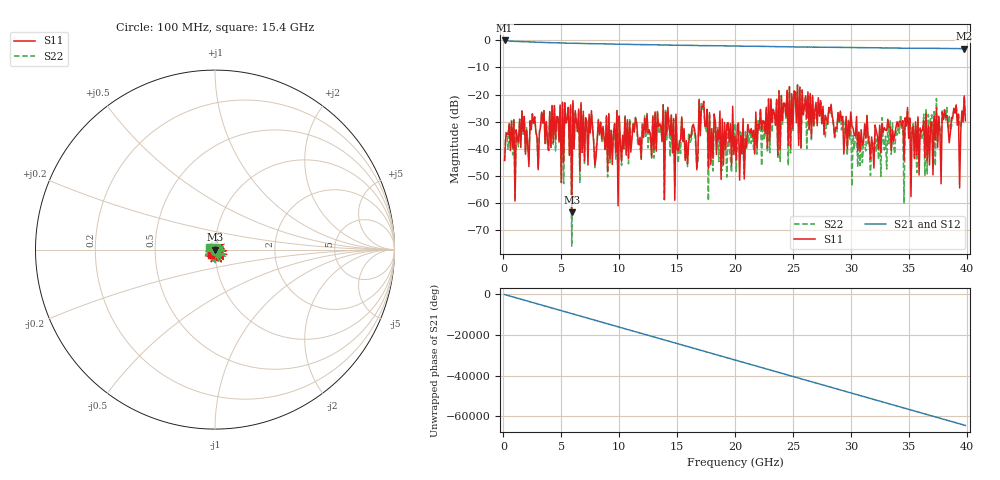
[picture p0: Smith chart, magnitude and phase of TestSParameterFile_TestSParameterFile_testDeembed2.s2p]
# MHz MA S R 50
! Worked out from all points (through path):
!   399 points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, 100 MHz to 39.9 GHz, reference 50 ohm
!   highest |S21| = -0.11 dB at 100 MHz (marker M1); lowest = -3.2 dB at 39.8 GHz (marker M2)
!   lowest |S11| = -63.3 dB at 5.9 GHz (marker M3), VSWR 1.00, Z = 50.1 - j0.028 ohm
!   |S11| at or under -10 dB: start of sweep to end of sweep
!   |S22| runs from -75.8 to -16.4 dB; largest |S21 - S12| = 0.0045
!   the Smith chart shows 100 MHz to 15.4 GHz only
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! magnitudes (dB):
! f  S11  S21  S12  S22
! 100 MHz  -44.2  -0.1  -0.1  -44.5
! 5.8 GHz  -23.8  -1.1  -1.1  -24.4
! 5.9 GHz  -63.3  -1.1  -1.1  -75.8
! 6 GHz  -22.2  -1.1  -1.2  -22.7
! 6.8 GHz  -41.3  -1.2  -1.2  -41.3
! 13.4 GHz  -31.8  -1.8  -1.7  -33.4
! 14.7 GHz  -28.8  -1.9  -1.8  -29.3
! 14.8 GHz  -58.9  -1.8  -1.8  -53.5
! 14.9 GHz  -27.2  -1.9  -1.9  -27.8
! 17.6 GHz  -25.4  -2.0  -2.0  -25.6
! 17.7 GHz  -47.3  -2.0  -2.0  -59.1
! 17.8 GHz  -26.6  -2.0  -2.1  -27.7
! 20 GHz  -35.4  -2.2  -2.1  -30.7
! 26.7 GHz  -20.3  -2.6  -2.6  -21.1
! 33.3 GHz  -32.1  -2.9  -2.9  -38.1
! 34.6 GHz  -44.3  -2.9  -2.9  -59.9
! 34.9 GHz  -24.8  -3.0  -3.0  -26.2
! 35.2 GHz  -57.5  -2.9  -3.0  -37.1
! 39.1 GHz  -23.8  -3.1  -3.1  -24.1
! 39.4 GHz  -54.4  -3.0  -3.0  -30.8
! 39.8 GHz  -20.5  -3.2  -3.2  -20.6
! 39.9 GHz  -29.7  -3.1  -3.1  -27.8
